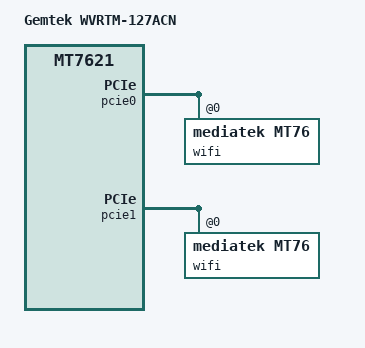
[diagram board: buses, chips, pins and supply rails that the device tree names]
// SPDX-License-Identifier: GPL-2.0-or-later OR MIT

#include "mt7621_gemtek_wvrtm-1xxacn.dtsi"

/ {
	compatible = "gemtek,wvrtm-127acn", "mediatek,mt7621-soc";
	model = "Gemtek WVRTM-127ACN";
};

&nvmem_layout {
	eeprom_factory_8000: eeprom@8000 {
		reg = <0x8000 0x200>;
	};
};

&pcie0 {
	wifi@0,0 {
		compatible = "mediatek,mt76";
		reg = <0x0000 0 0 0 0>;
		nvmem-cells = <&eeprom_factory_8000>;
		nvmem-cell-names = "eeprom";
		ieee80211-freq-limit = <5000000 6000000>;

		led {
			led-sources = <2>;
			led-active-low;
		};
	};
};

&pcie1 {
	wifi@0,0 {
		compatible = "mediatek,mt76";
		reg = <0x0000 0 0 0 0>;
		nvmem-cells = <&eeprom_factory_0>, <&macaddr_factory_4>;
		nvmem-cell-names = "eeprom", "mac-address";
		ieee80211-freq-limit = <2400000 2500000>;

		led {
			led-sources = <0>;
			led-active-low;
		};
	};
};

&ports {
	port@2 {
		status = "okay";
		label = "lan2";
	};

	port@3 {
		status = "okay";
		label = "lan1";
	};
};
